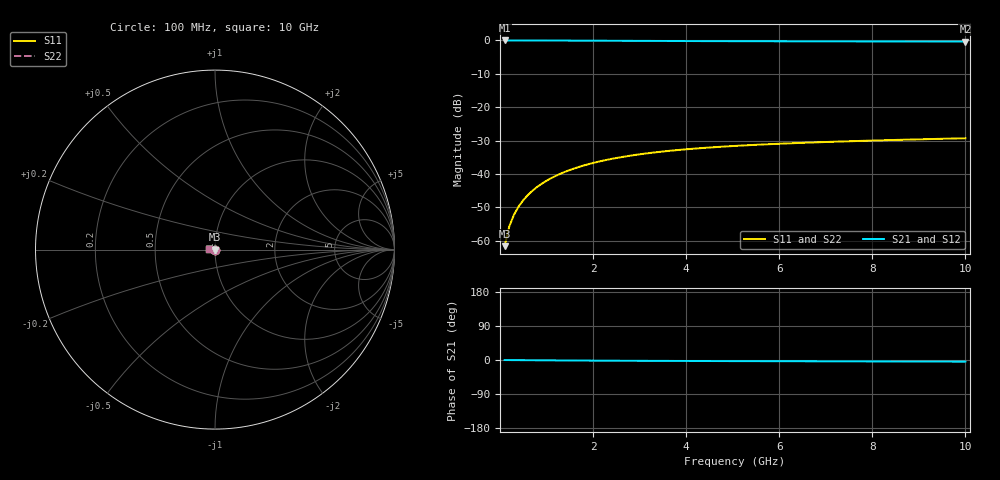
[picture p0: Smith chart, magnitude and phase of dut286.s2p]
! Touchstone file exported from HFSS 2024.1.0
!  File:  C:/UserFiles/LocalFiles/RDL_TSV_Batchsim/temp_TSV1_286_1779393807.aedt
!  Generated:  04:08:49 AM May 22, 2026
!  Design:  TSV1
!  Project:  temp_TSV1_286_1779393807
!  Setup:  Setup1
!  Solution:  Sweep
! Variables:
!  dtsv = 7.84um
!  hbump = 3um
!  htsv = 65.86um
!  lrdl = 252.1521522um
!  p = 40
!  p1 = 43.63um
!  t = 500um
!  trdl = 3um
!  wrdl = 24.89489489um
# GHz S MA R 50.000000
! Terminal data exported
! Port[1] = TSV22_T1
! Port[2] = TSV22_T2
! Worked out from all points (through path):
!   100 points, 100 MHz to 10 GHz, reference 50 ohm
!   highest |S21| = 0.00 dB at 100 MHz (marker M1); lowest = -0.3 dB at 10 GHz (marker M2)
!   lowest |S11| = -61.6 dB at 100 MHz (marker M3), VSWR 1.00, Z = 50 - j0.0811 ohm
!   |S11| at or under -10 dB: start of sweep to end of sweep
!   |S22| runs from -61.6 to -29.3 dB; largest |S21 - S12| = 3.4e-15
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0.1  0.0008318 -77.1  0.9998 -0.1  0.9998 -0.1  0.0008318 -77.1
! Gamma 0 0 0 0
! Port Impedance 50 0 50 0
0.2  0.001639 -85.9  0.9997 -0.2  0.9997 -0.2  0.001639 -85.9
0.3  0.002449 -90.1  0.9995 -0.3  0.9995 -0.3  0.002449 -90.1
0.4  0.003256 -93.1  0.9994 -0.4  0.9994 -0.4  0.003256 -93.1
0.5  0.004057 -95.6  0.9991 -0.5  0.9991 -0.5  0.004057 -95.6
0.6  0.004852 -97.9  0.9989 -0.6  0.9989 -0.6  0.004852 -97.9
0.7  0.005637 -99.9  0.9985 -0.6  0.9985 -0.6  0.005637 -99.9
0.8  0.006413 -101.9  0.9982 -0.7  0.9982 -0.7  0.006413 -101.9
0.9  0.007178 -103.8  0.9978 -0.8  0.9978 -0.8  0.007178 -103.8
1.1  0.00867 -107.4  0.9969 -1.0  0.9969 -1.0  0.00867 -107.4
1.4  0.0108 -112.5  0.9953 -1.2  0.9953 -1.2  0.0108 -112.5
1.6  0.01215 -115.8  0.9942 -1.4  0.9942 -1.4  0.01215 -115.8
1.8  0.01343 -118.9  0.9929 -1.5  0.9929 -1.5  0.01343 -118.9
2.1  0.01522 -123.4  0.991 -1.7  0.991 -1.7  0.01522 -123.4
2.5  0.01738 -128.9  0.9884 -1.9  0.9884 -1.9  0.01738 -128.9
2.9  0.01929 -134.1  0.9859 -2.1  0.9859 -2.1  0.01929 -134.1
3.4  0.02136 -140.0  0.9829 -2.3  0.9829 -2.3  0.02136 -140.0
4.2  0.02408 -148.3  0.9787 -2.6  0.9787 -2.6  0.02408 -148.3
5.1  0.02647 -156.3  0.9748 -2.9  0.9748 -2.9  0.02647 -156.3
6.7  0.02967 -168.0  0.9697 -3.4  0.9697 -3.4  0.02967 -168.0
8.4  0.03226 -178.0  0.966 -3.9  0.966 -3.9  0.03226 -178.0
10  0.03434 174.0  0.9636 -4.3  0.9636 -4.3  0.03434 174.0
